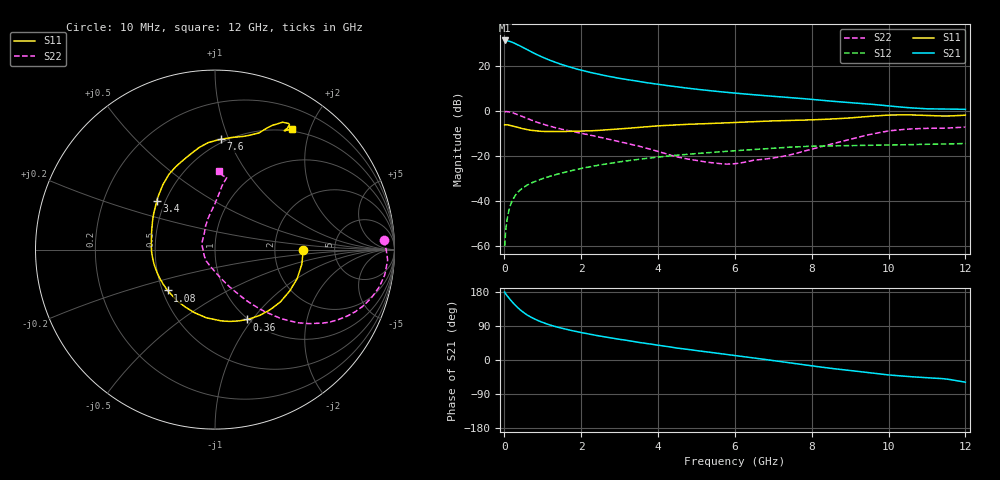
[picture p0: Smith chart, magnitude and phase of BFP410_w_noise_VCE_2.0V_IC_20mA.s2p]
! Infineon Technologies  Discrete & RF Semiconductors
! BFP410
! VCE =  2.0 V,  IC =  20 mA
! Common Emitter S-Parameters:  Nov 2015
# GHz  S  MA  R  50
!  f  S11  S21  S12  S22
! GHz  MAG  ANG  MAG  ANG  MAG  ANG  MAG  ANG
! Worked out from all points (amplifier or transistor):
!   243 points, 10 MHz to 12 GHz, reference 50 ohm
!   highest |S21| = 31.2 dB at 20 MHz (marker M1)
!   |S21| within 3 dB of that: start of sweep to 475.9 MHz
!   unconditionally stable (mu >= 1): 1.811 GHz to end of sweep
!   at 240 MHz: K = 0.27, MSG = 34.5 dB, |S12| = -38.9 dB
!   at 1.84 GHz: K = 1.00, MAG = 22.0 dB, |S12| = -26.2 dB
!   at 12 GHz: K = 1.02, MAG = 6.7 dB, |S12| = -14.5 dB
!   lowest NFmin = 1.70 dB at 900 MHz
!   S11 on the Smith chart (normalised r, x): 10 MHz: 2.92, -0.01; 360 MHz: 0.99, -0.94; 1.08 GHz: 0.53, -0.28; 3.4 GHz: 0.45, +0.30; 7.6 GHz: 0.47, +0.94; 12 GHz: 0.46, +1.72
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0.01  0.4902 -0.2  36.13 179.4  0.001 118.1  0.9451 3.3
0.02  0.4898 -3.7  36.2 176.9  0.0012 91.1  0.9552 -0.5
0.1  0.4857 -19.5  35.38 166.6  0.0051 83.1  0.9566 -8.4
0.15  0.4758 -29.0  34.45 160.2  0.0076 79.7  0.9388 -12.8
0.2  0.4666 -38.5  33.35 154.2  0.0098 76.5  0.914 -16.8
0.3  0.4433 -55.7  30.65 143.1  0.0138 71.4  0.8535 -24.0
0.36  0.4287 -65.2  28.9 137.4  0.0158 68.9  0.8146 -27.5
0.5  0.3986 -85.0  24.99 125.5  0.0201 64.6  0.7265 -34.3
0.6  0.3831 -97.1  22.48 118.5  0.0226 62.7  0.6701 -38.0
0.7  0.3696 -108.0  20.31 112.8  0.025 61.3  0.6212 -41.1
0.9  0.3553 -125.9  16.79 103.1  0.0294 59.5  0.5412 -45.7
1.08  0.3482 -139.2  14.37 96.2  0.0331 58.7  0.4843 -48.8
1.44  0.3468 -159.4  11 85.3  0.0406 57.3  0.4011 -53.7
2.02  0.355 177.5  7.879 72.1  0.0531 54.6  0.3159 -59.5
2.6  0.3758 159.0  6.074 61.2  0.0654 50.6  0.2468 -65.7
3.4  0.4224 140.2  4.602 48.3  0.082 44.6  0.1729 -76.4
4.1  0.4687 127.3  3.76 37.6  0.0963 38.7  0.1188 -91.6
6.1  0.5558 102.9  2.422 10.5  0.1318 21.4  0.0689 174.5
7.6  0.6154 86.9  1.917 -9.7  0.1589 6.8  0.1141 120.6
8.2  0.6395 78.8  1.73 -18.1  0.1653 -0.1  0.1567 107.3
10.2  0.8084 60.9  1.237 -41.0  0.1755 -16.4  0.3725 82.7
12  0.7989 57.6  1.078 -58.6  0.1887 -31.7  0.4362 87.2
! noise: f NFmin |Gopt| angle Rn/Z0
0.45  1.73  0.14  -155  0.16
0.9  1.7  0.14  -156  0.16
1.8  1.84  0.19  -141  0.17
2.4  1.84  0.24  -124  0.23
5.5  2.72  0.43  -103  0.42
10  3.83  0.7  -46  2.5
